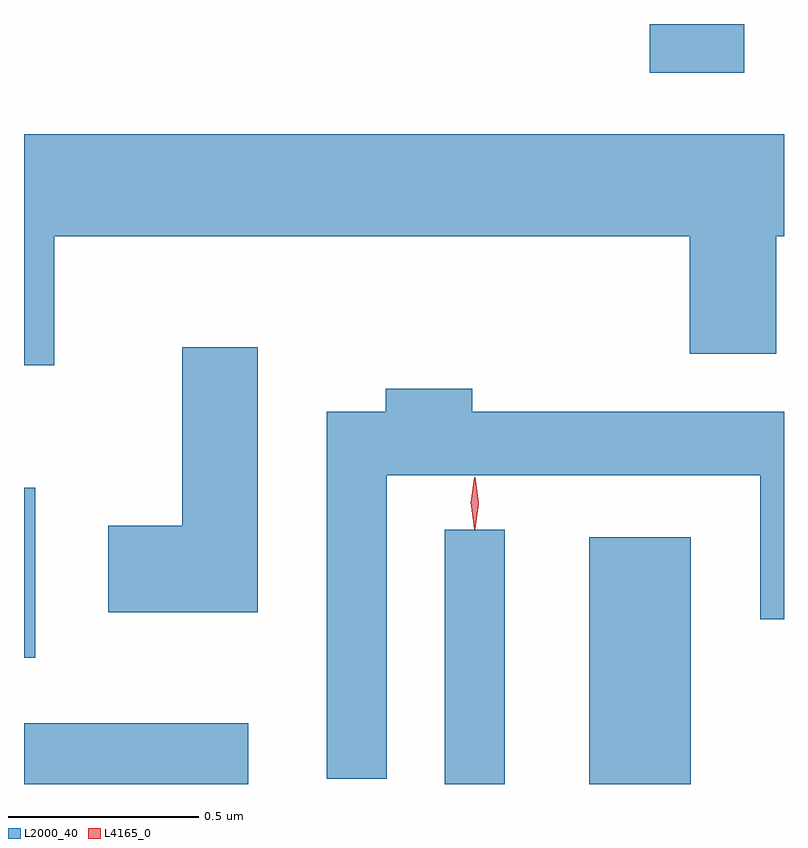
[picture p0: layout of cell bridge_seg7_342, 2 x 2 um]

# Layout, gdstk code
import gdstk
lib = gdstk.Library(unit=1e-6, precision=1e-09)
def R(c, l, rs):  # rectangles x0, y0, x1, y1
    for r in rs: c.add(gdstk.rectangle(r[:2], r[2:], *l))
def P(c, l, *ps):  # polygons
    for p in ps: c.add(gdstk.Polygon(p, *l))
L2000_40 = (2000, 40)
L4165_0 = (4165, 0)

bridge_seg7_342 = lib.new_cell('bridge_seg7_342')
R(bridge_seg7_342, L2000_40, [(1149.499,1759.494,1150.089,1759.654), (1150.606,1759.494,1150.764,1760.163), (1150.986,1759.494,1151.254,1760.144), (1149.499,1759.826,1149.529,1760.274), (1151.146,1761.366,1151.394,1761.494)])
P(bridge_seg7_342, L2000_40, [(1149.579,1760.936),(1151.251,1760.936),(1151.251,1760.626),(1151.479,1760.626),(1151.479,1760.936),(1151.499,1760.936),(1151.499,1761.204),(1149.499,1761.204),(1149.499,1760.596),(1149.579,1760.596)],
  [(1150.114,1760.644),(1149.916,1760.644),(1149.916,1760.174),(1149.721,1760.174),(1149.721,1759.946),(1150.114,1759.946)],
  [(1150.454,1760.306),(1151.436,1760.306),(1151.436,1759.928),(1151.499,1759.928),(1151.499,1760.474),(1150.679,1760.474),(1150.679,1760.534),(1150.451,1760.534),(1150.451,1760.474),(1150.296,1760.474),(1150.296,1759.508),(1150.454,1759.508)])
P(bridge_seg7_342, L4165_0, [(1150.684,1760.164),(1150.676,1760.233),(1150.686,1760.302),(1150.686,1760.303),(1150.686,1760.302),(1150.696,1760.233),(1150.686,1760.164),(1150.685,1760.164)],
  [(1150.684,1760.167),(1150.675,1760.234),(1150.684,1760.3),(1150.685,1760.301),(1150.685,1760.3),(1150.695,1760.234),(1150.685,1760.167),(1150.685,1760.167)])

lib.write_gds('bridge_seg7_342.gds')
